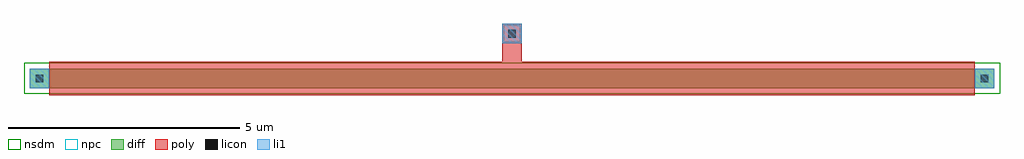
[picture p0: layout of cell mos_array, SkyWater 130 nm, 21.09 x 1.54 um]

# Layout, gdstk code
import gdstk
lib = gdstk.Library(unit=1e-6, precision=1e-09)
def R(c, l, rs):  # rectangles x0, y0, x1, y1
    for r in rs: c.add(gdstk.rectangle(r[:2], r[2:], *l))
diff = (65, 20)
poly = (66, 20)
licon = (66, 44)
li1 = (67, 20)
nsdm = (93, 44)
npc = (95, 20)

mos_array = lib.new_cell('mos_array')
R(mos_array, diff, [(0,0,20.84,0.42)])
R(mos_array, poly, [(0.42,-0.15,20.42,0.42), (0.42,0.42,20.42,0.57), (0.42,0.42,20.42,0.57), (10.21,0.57,10.63,1.39)])
R(mos_array, licon, [(0.125,0.125,0.295,0.295), (20.545,0.125,20.715,0.295), (10.335,1.095,10.505,1.265)])
R(mos_array, li1, [(0,0,0.42,0.42), (20.42,0,20.84,0.42), (10.21,0.97,10.63,1.39)])
R(mos_array, nsdm, [(-0.125,-0.125,20.965,0.545)])
R(mos_array, npc, [(10.24,1,10.6,1.36)])

lib.write_gds('mos_array.gds')
